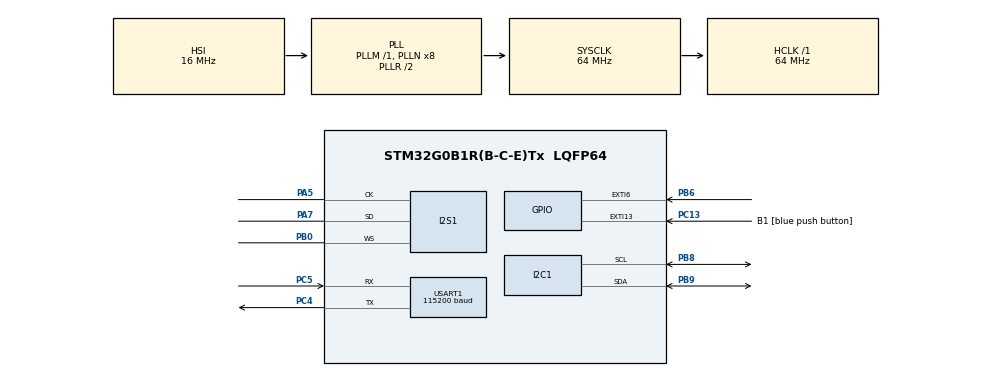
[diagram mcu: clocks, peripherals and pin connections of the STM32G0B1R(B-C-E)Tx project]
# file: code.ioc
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Dma.Request0=SPI1_RX
Dma.SPI1_RX.0.Direction=DMA_PERIPH_TO_MEMORY
Dma.SPI1_RX.0.EventEnable=DISABLE
Dma.SPI1_RX.0.Instance=DMA1_Channel1
Dma.SPI1_RX.0.MemDataAlignment=DMA_MDATAALIGN_HALFWORD
Dma.SPI1_RX.0.MemInc=DMA_MINC_ENABLE
Dma.SPI1_RX.0.Mode=DMA_CIRCULAR
Dma.SPI1_RX.0.PeriphDataAlignment=DMA_PDATAALIGN_HALFWORD
Dma.SPI1_RX.0.PeriphInc=DMA_PINC_DISABLE
Dma.SPI1_RX.0.Polarity=HAL_DMAMUX_REQ_GEN_RISING
Dma.SPI1_RX.0.Priority=DMA_PRIORITY_LOW
Dma.SPI1_RX.0.RequestNumber=1
Dma.SPI1_RX.0.SignalID=NONE
Dma.SPI1_RX.0.SyncEnable=DISABLE
Dma.SPI1_RX.0.SyncPolarity=HAL_DMAMUX_SYNC_NO_EVENT
Dma.SPI1_RX.0.SyncRequestNumber=1
Dma.SPI1_RX.0.SyncSignalID=NONE
I2C1.Timing=0x10B17DB5
I2S1.AudioFreq=I2S_AUDIOFREQ_48K
I2S1.DataFormat=I2S_DATAFORMAT_24B
I2S1.ErrorAudioFreq=-0.79 %
I2S1.FullDuplexMode=I2S_FULLDUPLEXMODE_DISABLE
I2S1.Instance=SPI$Index
I2S1.Mode=I2S_MODE_MASTER_RX
I2S1.RealAudioFreq=47.619 KHz
I2S1.Standard=I2S_STANDARD_MSB
I2S1.VirtualMode=I2S_MODE_MASTER
Mcu.Family=STM32G0
Mcu.Name=STM32G0B1R(B-C-E)Tx
Mcu.Package=LQFP64
NVIC.DMA1_Channel1_IRQn=true\:2\:0\:false\:false\:true\:false\:true\:true
NVIC.EXTI4_15_IRQn=true\:0\:0\:false\:false\:true\:true\:true\:true
NVIC.I2C1_IRQn=true\:0\:0\:false\:false\:true\:true\:true\:true
NVIC.USART1_IRQn=true\:0\:0\:false\:false\:true\:true\:true\:true
PA13.GPIO_Label=TMS
PA13.Mode=Serial_Wire
PA13.Signal=SYS_SWDIO
PA14-BOOT0.GPIO_Label=TCK
PA14-BOOT0.Mode=Serial_Wire
PA14-BOOT0.Signal=SYS_SWCLK
PA5.Mode=Half_Duplex_Master
PA5.Signal=I2S1_CK
PA7.Mode=Half_Duplex_Master
PA7.Signal=I2S1_SD
PB0.Mode=Half_Duplex_Master
PB0.Signal=I2S1_WS
PB6.Signal=GPXTI6
PB8.Mode=I2C
PB8.Signal=I2C1_SCL
PB9.Mode=I2C
PB9.Signal=I2C1_SDA
PC13.GPIO_Label=B1 [blue push button]
PC13.Signal=GPXTI13
PC14-OSC32_IN\ (PC14).Mode=LSE-External-Oscillator
PC14-OSC32_IN\ (PC14).Signal=RCC_OSC32_IN
PC15-OSC32_OUT\ (PC15).Mode=LSE-External-Oscillator
PC15-OSC32_OUT\ (PC15).Signal=RCC_OSC32_OUT
PC4.Mode=Asynchronous
PC4.Signal=USART1_TX
PC5.Mode=Asynchronous
PC5.Signal=USART1_RX
PF0-OSC_IN\ (PF0).GPIO_Label=MCO
PF0-OSC_IN\ (PF0).Mode=HSE-External-Clock-Source
PF0-OSC_IN\ (PF0).Signal=RCC_OSC_IN
ProjectManager.HeapSize=0x200
ProjectManager.StackSize=0x400
ProjectManager.TargetToolchain=CMake
RCC.ADCFreq_Value=64000000
RCC.AHBFreq_Value=64000000
RCC.CortexFreq_Value=64000000
RCC.EXTERNAL_CLOCK_VALUE=12288000
RCC.HCLKFreq_Value=64000000
RCC.HSE_VALUE=8000000
RCC.HSI48_VALUE=48000000
RCC.HSI_VALUE=16000000
RCC.SYSCLKFreq_VALUE=64000000
RCC.SYSCLKSource=RCC_SYSCLKSOURCE_PLLCLK
RCC.USART1CLockSelection=RCC_USART1CLKSOURCE_HSI
RCC.USBFreq_Value=48000000
RCC.VCOOutputFreq_Value=128000000
USART1.BaudRate=115200
USART1.VirtualMode-Asynchronous=VM_ASYNC
VP_SYS_VS_DBSignals.Mode=DisableDeadBatterySignals
board=NUCLEO-G0B1RE

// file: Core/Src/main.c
/* USER CODE BEGIN Header */
/**
 ******************************************************************************
 * @file           : main.c
 * @brief          : Main program body
 ******************************************************************************
 * @attention
 *
 * Copyright (c) 2026 STMicroelectronics.
 * All rights reserved.
 *
 * This software is licensed under terms that can be found in the LICENSE file
 * in the root directory of this software component.
 * If no LICENSE file comes with this software, it is provided AS-IS.
 *
 ******************************************************************************
 */
/* USER CODE END Header */
#include "main.h"

/* USER CODE BEGIN Includes */
#include "battery.h"
#include "sound.h"
#include "uplink.h"
/* USER CODE END Includes */

/* USER CODE BEGIN PD */
/* Battery design capacity written to the BQ27441 at boot (mAh).
 * 0 keeps the gauge's current setting. */
#define BATTERY_DESIGN_CAPACITY_MAH 3000
/* How often the main loop refreshes battery_status (ms). */
#define BATTERY_POLL_INTERVAL_MS 5000
/* GNSS one shot requests. Cellular is unavailable while the XBee searches
 * for a fix, so keep these infrequent. */
#define GNSS_STARTUP_DELAY_MS 10000   /* let the XBee boot first */
#define GNSS_POLL_INTERVAL_MS 600000  /* 10 minutes */
#define GNSS_TIMEOUT_S 120
/* Give up waiting for the XBee's GNSS result this long after its own
 * timeout, so a lost response can't block GNSS and uploads forever. */
#define GNSS_RESPONSE_GRACE_MS 30000

/* USER CODE END PD */

I2C_HandleTypeDef hi2c1;

I2S_HandleTypeDef hi2s1;
DMA_HandleTypeDef hdma_spi1_rx;

UART_HandleTypeDef huart1;

/* USER CODE BEGIN PV */
static uint8_t api_rx_byte;
volatile API_Status api_status;
Battery_Status battery_status;
/* Latest one second sound level from the microphone. */
Sound_Reading sound_level;

/* USER CODE END PV */

void SystemClock_Config(void);
static void MX_GPIO_Init(void);
static void MX_DMA_Init(void);
static void MX_USART1_UART_Init(void);
static void MX_I2C1_Init(void);
static void MX_I2S1_Init(void);

/* USER CODE BEGIN 0 */

/* printf() retargeting. LPUART1 (the debug UART) is not enabled in code.ioc,
 * so output is discarded. Enable LPUART1 in CubeMX and define DEBUG_UART to
 * send printf() output over it again. */
#ifdef DEBUG_UART
extern UART_HandleTypeDef hlpuart1;
#endif

int _write(int file, char *ptr, int len) {
#ifdef DEBUG_UART
  HAL_UART_Transmit(&hlpuart1, (uint8_t *)ptr, len, HAL_MAX_DELAY);
#else
  (void)file;
  (void)ptr;
#endif
  return len;
}

/* USER CODE END 0 */

int main(void)
{

  /* MCU Configuration--------------------------------------------------------*/

  /* Reset of all peripherals, Initializes the Flash interface and the Systick. */
  HAL_Init();

  /* Configure the system clock */
  SystemClock_Config();

  /* Initialize all configured peripherals */
  MX_GPIO_Init();
  MX_DMA_Init();
  MX_USART1_UART_Init();
  MX_I2C1_Init();
  MX_I2S1_Init();
  /* USER CODE BEGIN 2 */
  if (HAL_UART_Receive_IT(&huart1, &api_rx_byte, 1) != HAL_OK) {
    Error_Handler();
  }

  /* BQ27441 fuel gauge on I2C1 (PB8 SCL / PB9 SDA). A missing gauge is not
   * fatal; battery_status just stays zeroed. */
  if (Battery_Init(BATTERY_DESIGN_CAPACITY_MAH)) {
    Battery_Read(&battery_status);
  }
  /* Microphone on I2S1 (PA5 CK / PA7 SD / PB0 WS), DMA to one second Leq.
   * A failed start is retried by Sound_Read. */
  Sound_Start(&hi2s1);

  uint32_t last_battery_poll = HAL_GetTick();
  uint32_t next_gnss_poll = HAL_GetTick() + GNSS_STARTUP_DELAY_MS;
  uint32_t gnss_request_tick = 0;

  /* USER CODE END 2 */

  /* Infinite loop */
  /* USER CODE BEGIN WHILE */
  while (1) {
    static API_Status status; /* 1.5 kB, kept off the stack */
    while (API_ReadStatus(&status)) {
    	HandleAPI(&status);
    }

    Sound_Reading reading;
    while (Sound_Read(&reading)) {
      sound_level = reading;
      Uplink_AddReading(&reading);
    }
    Uplink_Process();

    if (Battery_IsConnected() &&
        HAL_GetTick() - last_battery_poll >= BATTERY_POLL_INTERVAL_MS) {
      last_battery_poll = HAL_GetTick();
      Battery_Read(&battery_status);
      StatusResponse();
    }
    else if (!Battery_IsConnected())
    	  if (Battery_Init(BATTERY_DESIGN_CAPACITY_MAH)) {
    	    Battery_Read(&battery_status);
    	  }

    /* GNSS takes the XBee off cellular, so don't start it mid upload. */
    if (!GNSSPending && Uplink_IsIdle() &&
        (int32_t)(HAL_GetTick() - next_gnss_poll) >= 0) {
      if (RequestGNSS(GNSS_TIMEOUT_S)) {
        gnss_request_tick = HAL_GetTick();
        next_gnss_poll = gnss_request_tick + GNSS_POLL_INTERVAL_MS;
      }
    }
    if (GNSSPending && HAL_GetTick() - gnss_request_tick >
                       GNSS_TIMEOUT_S * 1000u + GNSS_RESPONSE_GRACE_MS) {
      GNSSPending = false;
    }

    /* USER CODE END WHILE */

  }
}

void SystemClock_Config(void)
{
  RCC_OscInitTypeDef RCC_OscInitStruct = {0};
  RCC_ClkInitTypeDef RCC_ClkInitStruct = {0};

  /** Configure the main internal regulator output voltage
  */
  HAL_PWREx_ControlVoltageScaling(PWR_REGULATOR_VOLTAGE_SCALE1);

  /** Initializes the RCC Oscillators according to the specified parameters
  * in the RCC_OscInitTypeDef structure.
  */
  RCC_OscInitStruct.OscillatorType = RCC_OSCILLATORTYPE_HSI;
  RCC_OscInitStruct.HSIState = RCC_HSI_ON;
  RCC_OscInitStruct.HSIDiv = RCC_HSI_DIV1;
  RCC_OscInitStruct.HSICalibrationValue = RCC_HSICALIBRATION_DEFAULT;
  RCC_OscInitStruct.PLL.PLLState = RCC_PLL_ON;
  RCC_OscInitStruct.PLL.PLLSource = RCC_PLLSOURCE_HSI;
  RCC_OscInitStruct.PLL.PLLM = RCC_PLLM_DIV1;
  RCC_OscInitStruct.PLL.PLLN = 8;
  RCC_OscInitStruct.PLL.PLLP = RCC_PLLP_DIV2;
  RCC_OscInitStruct.PLL.PLLQ = RCC_PLLQ_DIV2;
  RCC_OscInitStruct.PLL.PLLR = RCC_PLLR_DIV2;
  if (HAL_RCC_OscConfig(&RCC_OscInitStruct) != HAL_OK)
  {
    Error_Handler();
  }

  /** Initializes the CPU, AHB and APB buses clocks
  */
  RCC_ClkInitStruct.ClockType = RCC_CLOCKTYPE_HCLK|RCC_CLOCKTYPE_SYSCLK
                              |RCC_CLOCKTYPE_PCLK1;
  RCC_ClkInitStruct.SYSCLKSource = RCC_SYSCLKSOURCE_PLLCLK;
  RCC_ClkInitStruct.AHBCLKDivider = RCC_SYSCLK_DIV1;
  RCC_ClkInitStruct.APB1CLKDivider = RCC_HCLK_DIV1;

  if (HAL_RCC_ClockConfig(&RCC_ClkInitStruct, FLASH_LATENCY_2) != HAL_OK)
  {
    Error_Handler();
  }
}

static void MX_I2C1_Init(void)
{

  hi2c1.Instance = I2C1;
  hi2c1.Init.Timing = 0x10B17DB5;
  hi2c1.Init.OwnAddress1 = 0;
  hi2c1.Init.AddressingMode = I2C_ADDRESSINGMODE_7BIT;
  hi2c1.Init.DualAddressMode = I2C_DUALADDRESS_DISABLE;
  hi2c1.Init.OwnAddress2 = 0;
  hi2c1.Init.OwnAddress2Masks = I2C_OA2_NOMASK;
  hi2c1.Init.GeneralCallMode = I2C_GENERALCALL_DISABLE;
  hi2c1.Init.NoStretchMode = I2C_NOSTRETCH_DISABLE;
  if (HAL_I2C_Init(&hi2c1) != HAL_OK)
  {
    Error_Handler();
  }

  /** Configure Analogue filter
  */
  if (HAL_I2CEx_ConfigAnalogFilter(&hi2c1, I2C_ANALOGFILTER_ENABLE) != HAL_OK)
  {
    Error_Handler();
  }

  /** Configure Digital filter
  */
  if (HAL_I2CEx_ConfigDigitalFilter(&hi2c1, 0) != HAL_OK)
  {
    Error_Handler();
  }

}

static void MX_I2S1_Init(void)
{

  hi2s1.Instance = SPI1;
  hi2s1.Init.Mode = I2S_MODE_MASTER_RX;
  hi2s1.Init.Standard = I2S_STANDARD_MSB;
  hi2s1.Init.DataFormat = I2S_DATAFORMAT_24B;
  hi2s1.Init.MCLKOutput = I2S_MCLKOUTPUT_DISABLE;
  hi2s1.Init.AudioFreq = I2S_AUDIOFREQ_48K;
  hi2s1.Init.CPOL = I2S_CPOL_LOW;
  if (HAL_I2S_Init(&hi2s1) != HAL_OK)
  {
    Error_Handler();
  }

}

static void MX_USART1_UART_Init(void)
{

  huart1.Instance = USART1;
  huart1.Init.BaudRate = 115200;
  huart1.Init.WordLength = UART_WORDLENGTH_8B;
  huart1.Init.StopBits = UART_STOPBITS_1;
  huart1.Init.Parity = UART_PARITY_NONE;
  huart1.Init.Mode = UART_MODE_TX_RX;
  huart1.Init.HwFlowCtl = UART_HWCONTROL_NONE;
  huart1.Init.OverSampling = UART_OVERSAMPLING_16;
  huart1.Init.OneBitSampling = UART_ONE_BIT_SAMPLE_DISABLE;
  huart1.Init.ClockPrescaler = UART_PRESCALER_DIV1;
  huart1.AdvancedInit.AdvFeatureInit = UART_ADVFEATURE_NO_INIT;
  if (HAL_UART_Init(&huart1) != HAL_OK)
  {
    Error_Handler();
  }
  if (HAL_UARTEx_SetTxFifoThreshold(&huart1, UART_TXFIFO_THRESHOLD_1_8) != HAL_OK)
  {
    Error_Handler();
  }
  if (HAL_UARTEx_SetRxFifoThreshold(&huart1, UART_RXFIFO_THRESHOLD_1_8) != HAL_OK)
  {
    Error_Handler();
  }
  if (HAL_UARTEx_DisableFifoMode(&huart1) != HAL_OK)
  {
    Error_Handler();
  }

}

static void MX_DMA_Init(void)
{

  /* DMA controller clock enable */
  __HAL_RCC_DMA1_CLK_ENABLE();

  /* DMA interrupt init */
  /* DMA1_Channel1_IRQn interrupt configuration */
  HAL_NVIC_SetPriority(DMA1_Channel1_IRQn, 2, 0);
  HAL_NVIC_EnableIRQ(DMA1_Channel1_IRQn);

}

static void MX_GPIO_Init(void)
{
  GPIO_InitTypeDef GPIO_InitStruct = {0};

  /* GPIO Ports Clock Enable */
  __HAL_RCC_GPIOC_CLK_ENABLE();
  __HAL_RCC_GPIOF_CLK_ENABLE();
  __HAL_RCC_GPIOA_CLK_ENABLE();
  __HAL_RCC_GPIOB_CLK_ENABLE();

  /*Configure GPIO pin : B1_Pin */
  GPIO_InitStruct.Pin = B1_Pin;
  GPIO_InitStruct.Mode = GPIO_MODE_IT_RISING;
  GPIO_InitStruct.Pull = GPIO_NOPULL;
  HAL_GPIO_Init(B1_GPIO_Port, &GPIO_InitStruct);

  /*Configure GPIO pin : PB6 */
  GPIO_InitStruct.Pin = GPIO_PIN_6;
  GPIO_InitStruct.Mode = GPIO_MODE_IT_RISING;
  GPIO_InitStruct.Pull = GPIO_NOPULL;
  HAL_GPIO_Init(GPIOB, &GPIO_InitStruct);

  /* EXTI interrupt init*/
  HAL_NVIC_SetPriority(EXTI4_15_IRQn, 0, 0);
  HAL_NVIC_EnableIRQ(EXTI4_15_IRQn);

  /* USER CODE BEGIN MX_GPIO_Init_2 */
  GPIO_InitStruct.Pin = GPIO_PIN_15;
  GPIO_InitStruct.Mode = GPIO_MODE_IT_RISING;
  GPIO_InitStruct.Pull = GPIO_NOPULL;
  HAL_GPIO_Init(GPIOA, &GPIO_InitStruct);

  /* USER CODE END MX_GPIO_Init_2 */
}

/* USER CODE BEGIN 4 */

/* XBee UART: every received byte goes to the API frame parser. */
void HAL_UART_RxCpltCallback(UART_HandleTypeDef *huart) {
  if (huart->Instance == USART1) {
    API_ProcessByte(api_rx_byte);
    if (HAL_UART_Receive_IT(&huart1, &api_rx_byte, 1) != HAL_OK) {
      Error_Handler();
    }
  }
}

/* Line errors (framing/noise, e.g. while the XBee powers up) drop the frame
 * in progress. For those the HAL keeps receiving; only overrun and timeout
 * errors stop reception, so re-arm just in that case. */
void HAL_UART_ErrorCallback(UART_HandleTypeDef *huart) {
  if (huart->Instance == USART1) {
    API_ResetParser();
    if (huart->RxState == HAL_UART_STATE_READY) {
      HAL_UART_Receive_IT(&huart1, &api_rx_byte, 1);
    }
  }
}

void HAL_GPIO_EXTI_Rising_Callback(uint16_t GPIO_Pin) {
	if (GPIO_Pin != GPIO_PIN_15 || api_status.frame_type != 0x88 ||
	    api_status.data_length < 4 || api_status.data[2] != 0)
	{
		return;
	}

	uint8_t value = (uint8_t)api_status.data[3];
	if (api_status.data[0] == 'A' && api_status.data[1] == 'I')
	{
		if (value == 0)
		{
			Cell = 9;
			GetCell = true;
		}
		else
		{
			SendATCommand("DB");
		}
	}
	else if (api_status.data[0] == 'D' && api_status.data[1] == 'B')
	{
		if (value <= 70) Cell = 5;
		else if (value <= 85) Cell = 4;
		else if (value <= 95) Cell = 3;
		else if (value <= 100) Cell = 2;
		else if (value <= 110) Cell = 1;
		else Cell = 0;
		GetCell = true;
	}
}
/* USER CODE END 4 */

void Error_Handler(void)
{
  __disable_irq();
  while (1) {
  }
}
#ifdef USE_FULL_ASSERT
/**
  * @brief  Reports the name of the source file and the source line number
  *         where the assert_param error has occurred.
  * @param  file: pointer to the source file name
  * @param  line: assert_param error line source number
  * @retval None
  */
void assert_failed(uint8_t *file, uint32_t line)
{
  /* USER CODE BEGIN 6 */
  /* User can add his own implementation to report the file name and line
     number, ex: printf("Wrong parameters value: file %s on line %d\r\n", file,
     line) */
  /* USER CODE END 6 */
}
#endif /* USE_FULL_ASSERT */
